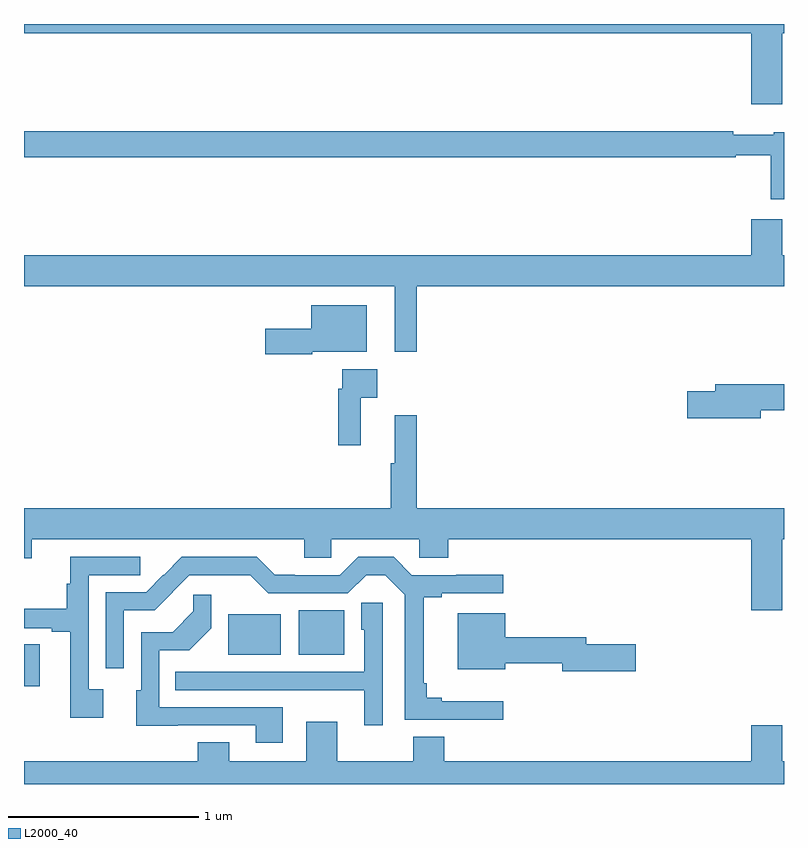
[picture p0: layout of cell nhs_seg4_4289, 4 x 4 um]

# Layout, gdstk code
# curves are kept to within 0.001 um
import gdstk
lib = gdstk.Library(unit=1e-6, precision=1e-09)
def R(c, l, rs):  # rectangles x0, y0, x1, y1
    for r in rs: c.add(gdstk.rectangle(r[:2], r[2:], *l))
def P(c, l, *ps):  # polygons
    for p in ps: c.add(gdstk.Polygon(p, *l))
L2000_40 = (2000, 40)

nhs_seg4_4289 = lib.new_cell('nhs_seg4_4289')
R(nhs_seg4_4289, L2000_40, [(341,761.415,341.083,761.636), (342.074,761.579,342.352,761.794), (342.446,761.579,342.685,761.815)])
P(nhs_seg4_4289, L2000_40, [(344.992,764.852),(345,764.852),(345,764.9),(341,764.9),(341,764.852),(344.828,764.852),(344.828,764.478),(344.992,764.478)],
  [(345,764.329),(344.946,764.329),(344.946,764.317),(344.732,764.317),(344.732,764.336),(341,764.336),(341,764.2),(344.746,764.2),(344.746,764.208),(344.93,764.208),(344.93,763.977),(345,763.977)],
  [(343.067,763.52),(345,763.52),(345,763.684),(344.992,763.684),(344.992,763.873),(344.828,763.873),(344.828,763.684),(341,763.684),(341,763.52),(342.95,763.52),(342.95,763.176),(343.067,763.176)],
  [(342.516,763.175),(342.805,763.175),(342.805,763.42),(342.512,763.42),(342.512,763.297),(342.27,763.297),(342.27,763.163),(342.516,763.163)],
  [(342.773,762.932),(342.859,762.932),(342.859,763.084),(342.675,763.084),(342.675,762.98),(342.655,762.98),(342.655,762.684),(342.773,762.684)],
  [(344.878,762.868),(345,762.868),(345,763.004),(344.639,763.004),(344.639,762.968),(344.49,762.968),(344.49,762.826),(344.878,762.826)],
  [(341,762.089),(341.041,762.089),(341.041,762.188),(342.476,762.188),(342.476,762.09),(342.618,762.09),(342.618,762.188),(343.08,762.188),(343.08,762.09),(343.232,762.09),(343.232,762.188),(344.828,762.188),(344.828,761.814),(344.992,761.814),(344.992,762.188),(345,762.188),(345,762.352),(343.067,762.352),(343.067,762.841),(342.95,762.841),(342.95,762.588),(342.931,762.588),(342.931,762.352),(341,762.352)],
  [(343.522,761.335),(343.198,761.335),(343.198,761.354),(343.121,761.354),(343.121,761.431),(343.103,761.431),(343.103,761.884),(343.198,761.884),(343.198,761.904),(343.522,761.904),(343.522,762.002),(343.275,762.002),(343.275,762),(343.042,762),(342.946,762.096),(342.759,762.096),(342.663,762),(342.424,762),(342.424,762.002),(342.32,762.002),(342.225,762.096),(341.831,762.096),(341.643,761.91),(341.43,761.91),(341.43,761.508),(341.526,761.508),(341.526,761.814),(341.689,761.814),(341.783,761.908),(341.781,761.91),(341.871,762),(342.191,761.999),(342.285,761.904),(342.705,761.904),(342.8,761.999),(342.901,761.999),(343.005,761.895),(343.005,761.238),(343.522,761.237)],
  [(341.416,761.398),(341.34,761.398),(341.34,762),(341.613,762),(341.613,762.096),(341.243,762.096),(341.243,761.954),(341.224,761.954),(341.224,761.822),(341,761.822),(341,761.721),(341.147,761.721),(341.147,761.701),(341.243,761.701),(341.243,761.25),(341.416,761.25)],
  [(342.361,761.304),(341.712,761.304),(341.712,761.604),(341.869,761.604),(341.985,761.72),(341.985,761.896),(341.89,761.896),(341.89,761.808),(341.782,761.7),(341.616,761.7),(341.616,761.394),(341.591,761.394),(341.591,761.207),(342.221,761.208),(342.221,761.118),(342.361,761.118)],
  [(342.888,761.855),(342.776,761.855),(342.776,761.712),(342.792,761.712),(342.792,761.49),(341.797,761.49),(341.797,761.394),(342.457,761.394),(342.457,761.393),(342.791,761.393),(342.791,761.208),(342.888,761.208)],
  [(344.221,761.636),(343.96,761.636),(343.96,761.672),(343.534,761.672),(343.534,761.8),(343.283,761.8),(343.283,761.504),(343.534,761.504),(343.534,761.536),(343.832,761.536),(343.832,761.494),(344.221,761.494)],
  [(342.485,761.227),(342.485,761.02),(342.079,761.02),(342.079,761.119),(341.915,761.119),(341.915,761.02),(341,761.02),(341,760.9),(345,760.9),(345,761.02),(344.992,761.02),(344.992,761.209),(344.828,761.209),(344.828,761.02),(343.213,761.02),(343.213,761.149),(343.049,761.149),(343.049,761.02),(342.649,761.02),(342.649,761.227)])

lib.write_gds('nhs_seg4_4289.gds')
